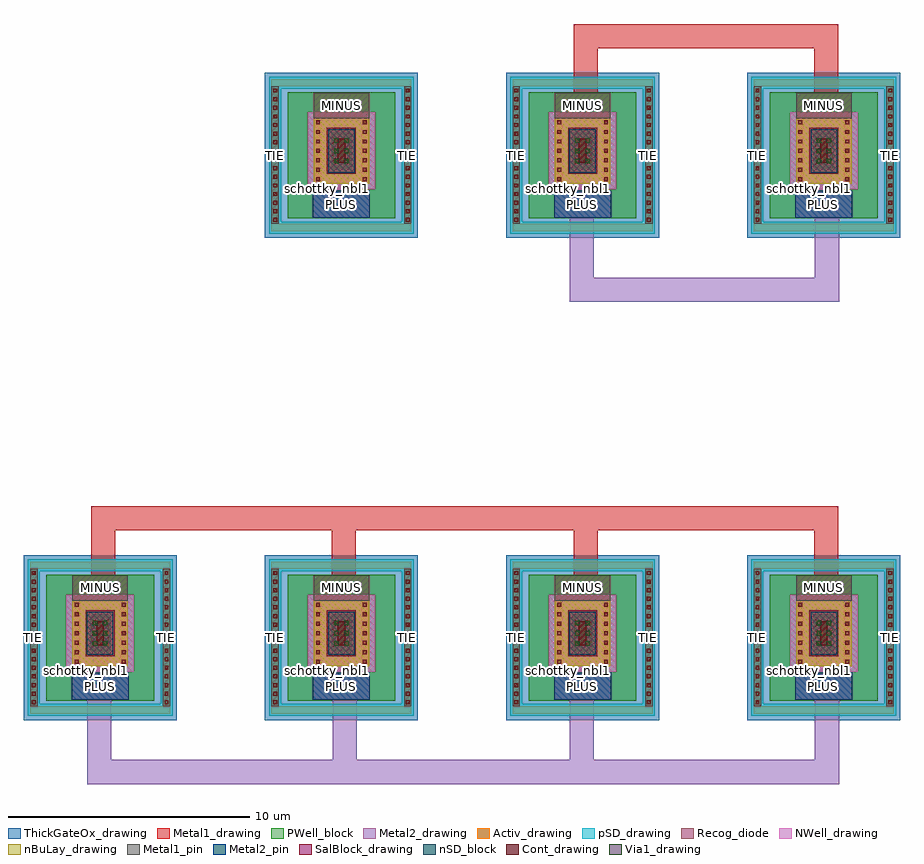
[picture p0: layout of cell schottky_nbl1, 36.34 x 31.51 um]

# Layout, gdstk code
import gdstk
lib = gdstk.Library(unit=1e-6, precision=1e-09)
def R(c, l, rs):  # rectangles x0, y0, x1, y1
    for r in rs: c.add(gdstk.rectangle(r[:2], r[2:], *l))
def A(c, l, x, y, w, h, nx, ny, dx, dy):  # array of equal rectangles
    R(c, l, [(x+i*dx, y+j*dy, x+i*dx+w, y+j*dy+h) for i in range(nx) for j in range(ny)])
Activ_drawing = (1, 0)
Cont_drawing = (6, 0)
nSD_block = (7, 21)
Metal1_drawing = (8, 0)
Metal1_pin = (8, 2)
Metal2_drawing = (10, 0)
Metal2_pin = (10, 2)
pSD_drawing = (14, 0)
Via1_drawing = (19, 0)
SalBlock_drawing = (28, 0)
NWell_drawing = (31, 0)
nBuLay_drawing = (32, 0)
ThickGateOx_drawing = (44, 0)
PWell_block = (46, 21)
Recog_diode = (99, 31)

schottky_nbl1 = lib.new_cell('schottky_nbl1')
A(schottky_nbl1, Activ_drawing, -12.3, -22.38, 5.8, 0.3, 4, 2, 10, 6)
A(schottky_nbl1, Activ_drawing, -10.55, -20.4, 2.3, 2.7, 4, 1, 10, 0)
A(schottky_nbl1, Activ_drawing, -2.3, -2.38, 5.8, 0.3, 3, 2, 10, 6)
A(schottky_nbl1, Activ_drawing, -0.55, -0.4, 2.3, 2.7, 3, 1, 10, 0)
R(schottky_nbl1, Activ_drawing, [(-12.3,-22.08,-12,-16.38), (-6.8,-22.08,-6.5,-16.38), (-2.3,-22.08,-2,-16.38), (3.2,-22.08,3.5,-16.38), (7.7,-22.08,8,-16.38), (13.2,-22.08,13.5,-16.38), (17.7,-22.08,18,-16.38), (23.2,-22.08,23.5,-16.38), (-2.3,-2.08,-2,3.62), (3.2,-2.08,3.5,3.62), (7.7,-2.08,8,3.62), (13.2,-2.08,13.5,3.62), (17.7,-2.08,18,3.62), (23.2,-2.08,23.5,3.62)])
A(schottky_nbl1, Cont_drawing, -12.23, -21.99, 0.16, 0.16, 1, 3, 0, 0.355)
A(schottky_nbl1, Cont_drawing, -6.73, -21.99, 0.16, 0.16, 1, 3, 0, 0.355)
A(schottky_nbl1, Cont_drawing, -2.23, -21.99, 0.16, 0.16, 1, 3, 0, 0.355)
A(schottky_nbl1, Cont_drawing, 3.27, -21.99, 0.16, 0.16, 1, 3, 0, 0.355)
A(schottky_nbl1, Cont_drawing, 7.77, -21.99, 0.16, 0.16, 1, 3, 0, 0.355)
A(schottky_nbl1, Cont_drawing, 13.27, -21.99, 0.16, 0.16, 1, 3, 0, 0.355)
A(schottky_nbl1, Cont_drawing, 17.77, -21.99, 0.16, 0.16, 1, 3, 0, 0.355)
A(schottky_nbl1, Cont_drawing, 23.27, -21.99, 0.16, 0.16, 1, 3, 0, 0.355)
A(schottky_nbl1, Cont_drawing, -10.45, -19.92, 0.16, 0.16, 1, 3, 0, 0.395)
A(schottky_nbl1, Cont_drawing, -8.51, -19.92, 0.16, 0.16, 1, 3, 0, 0.395)
A(schottky_nbl1, Cont_drawing, -0.45, -19.92, 0.16, 0.16, 1, 3, 0, 0.395)
A(schottky_nbl1, Cont_drawing, 1.49, -19.92, 0.16, 0.16, 1, 3, 0, 0.395)
A(schottky_nbl1, Cont_drawing, 9.55, -19.92, 0.16, 0.16, 1, 3, 0, 0.395)
A(schottky_nbl1, Cont_drawing, 11.49, -19.92, 0.16, 0.16, 1, 3, 0, 0.395)
A(schottky_nbl1, Cont_drawing, 19.55, -19.92, 0.16, 0.16, 1, 3, 0, 0.395)
A(schottky_nbl1, Cont_drawing, 21.49, -19.92, 0.16, 0.16, 1, 3, 0, 0.395)
A(schottky_nbl1, Cont_drawing, -9.55, -19.55, 0.3, 1, 4, 1, 10, 0)
A(schottky_nbl1, Cont_drawing, -10.45, -18.74, 0.16, 0.16, 1, 3, 0, 0.395)
A(schottky_nbl1, Cont_drawing, -8.51, -18.74, 0.16, 0.16, 1, 3, 0, 0.395)
A(schottky_nbl1, Cont_drawing, -0.45, -18.74, 0.16, 0.16, 1, 3, 0, 0.395)
A(schottky_nbl1, Cont_drawing, 1.49, -18.74, 0.16, 0.16, 1, 3, 0, 0.395)
A(schottky_nbl1, Cont_drawing, 9.55, -18.74, 0.16, 0.16, 1, 3, 0, 0.395)
A(schottky_nbl1, Cont_drawing, 11.49, -18.74, 0.16, 0.16, 1, 3, 0, 0.395)
A(schottky_nbl1, Cont_drawing, 19.55, -18.74, 0.16, 0.16, 1, 3, 0, 0.395)
A(schottky_nbl1, Cont_drawing, 21.49, -18.74, 0.16, 0.16, 1, 3, 0, 0.395)
A(schottky_nbl1, Cont_drawing, -2.23, -1.99, 0.16, 0.16, 1, 3, 0, 0.355)
A(schottky_nbl1, Cont_drawing, 3.27, -1.99, 0.16, 0.16, 1, 3, 0, 0.355)
A(schottky_nbl1, Cont_drawing, 7.77, -1.99, 0.16, 0.16, 1, 3, 0, 0.355)
A(schottky_nbl1, Cont_drawing, 13.27, -1.99, 0.16, 0.16, 1, 3, 0, 0.355)
A(schottky_nbl1, Cont_drawing, 17.77, -1.99, 0.16, 0.16, 1, 3, 0, 0.355)
A(schottky_nbl1, Cont_drawing, 23.27, -1.99, 0.16, 0.16, 1, 3, 0, 0.355)
A(schottky_nbl1, Cont_drawing, -0.45, 0.08, 0.16, 0.16, 1, 3, 0, 0.395)
A(schottky_nbl1, Cont_drawing, 1.49, 0.08, 0.16, 0.16, 1, 3, 0, 0.395)
A(schottky_nbl1, Cont_drawing, 9.55, 0.08, 0.16, 0.16, 1, 3, 0, 0.395)
A(schottky_nbl1, Cont_drawing, 11.49, 0.08, 0.16, 0.16, 1, 3, 0, 0.395)
A(schottky_nbl1, Cont_drawing, 19.55, 0.08, 0.16, 0.16, 1, 3, 0, 0.395)
A(schottky_nbl1, Cont_drawing, 21.49, 0.08, 0.16, 0.16, 1, 3, 0, 0.395)
A(schottky_nbl1, Cont_drawing, 0.45, 0.45, 0.3, 1, 3, 1, 10, 0)
A(schottky_nbl1, Cont_drawing, -0.45, 1.26, 0.16, 0.16, 1, 3, 0, 0.395)
A(schottky_nbl1, Cont_drawing, 1.49, 1.26, 0.16, 0.16, 1, 3, 0, 0.395)
A(schottky_nbl1, Cont_drawing, 9.55, 1.26, 0.16, 0.16, 1, 3, 0, 0.395)
A(schottky_nbl1, Cont_drawing, 11.49, 1.26, 0.16, 0.16, 1, 3, 0, 0.395)
A(schottky_nbl1, Cont_drawing, 19.55, 1.26, 0.16, 0.16, 1, 3, 0, 0.395)
A(schottky_nbl1, Cont_drawing, 21.49, 1.26, 0.16, 0.16, 1, 3, 0, 0.395)
R(schottky_nbl1, Cont_drawing, [(-12.23,-20.92,-12.07,-20.76), (-6.73,-20.92,-6.57,-20.76), (-2.23,-20.92,-2.07,-20.76), (3.27,-20.92,3.43,-20.76), (7.77,-20.92,7.93,-20.76), (13.27,-20.92,13.43,-20.76), (17.77,-20.92,17.93,-20.76), (23.27,-20.92,23.43,-20.76), (-12.23,-20.565,-12.07,-20.405), (-6.73,-20.565,-6.57,-20.405), (-2.23,-20.565,-2.07,-20.405), (3.27,-20.565,3.43,-20.405), (7.77,-20.565,7.93,-20.405), (13.27,-20.565,13.43,-20.405), (17.77,-20.565,17.93,-20.405), (23.27,-20.565,23.43,-20.405), (-10.45,-20.31,-10.29,-20.15), (-8.51,-20.31,-8.35,-20.15), (-0.45,-20.31,-0.29,-20.15), (1.49,-20.31,1.65,-20.15), (9.55,-20.31,9.71,-20.15), (11.49,-20.31,11.65,-20.15), (19.55,-20.31,19.71,-20.15), (21.49,-20.31,21.65,-20.15), (-12.23,-20.205,-12.07,-20.045), (-6.73,-20.205,-6.57,-20.045), (-2.23,-20.205,-2.07,-20.045), (3.27,-20.205,3.43,-20.045), (7.77,-20.205,7.93,-20.045), (13.27,-20.205,13.43,-20.045), (17.77,-20.205,17.93,-20.045), (23.27,-20.205,23.43,-20.045), (-12.23,-19.85,-12.07,-19.69), (-6.73,-19.85,-6.57,-19.69), (-2.23,-19.85,-2.07,-19.69), (3.27,-19.85,3.43,-19.69), (7.77,-19.85,7.93,-19.69), (13.27,-19.85,13.43,-19.69), (17.77,-19.85,17.93,-19.69), (23.27,-19.85,23.43,-19.69), (-12.23,-19.49,-12.07,-19.33), (-6.73,-19.49,-6.57,-19.33), (-2.23,-19.49,-2.07,-19.33), (3.27,-19.49,3.43,-19.33), (7.77,-19.49,7.93,-19.33), (13.27,-19.49,13.43,-19.33), (17.77,-19.49,17.93,-19.33), (23.27,-19.49,23.43,-19.33), (-12.23,-19.135,-12.07,-18.975), (-6.73,-19.135,-6.57,-18.975), (-2.23,-19.135,-2.07,-18.975), (3.27,-19.135,3.43,-18.975), (7.77,-19.135,7.93,-18.975), (13.27,-19.135,13.43,-18.975), (17.77,-19.135,17.93,-18.975), (23.27,-19.135,23.43,-18.975), (-12.23,-18.775,-12.07,-18.615), (-6.73,-18.775,-6.57,-18.615), (-2.23,-18.775,-2.07,-18.615), (3.27,-18.775,3.43,-18.615), (7.77,-18.775,7.93,-18.615), (13.27,-18.775,13.43,-18.615), (17.77,-18.775,17.93,-18.615), (23.27,-18.775,23.43,-18.615), (-12.23,-18.42,-12.07,-18.26), (-6.73,-18.42,-6.57,-18.26), (-2.23,-18.42,-2.07,-18.26), (3.27,-18.42,3.43,-18.26), (7.77,-18.42,7.93,-18.26), (13.27,-18.42,13.43,-18.26), (17.77,-18.42,17.93,-18.26), (23.27,-18.42,23.43,-18.26), (-12.23,-18.06,-12.07,-17.9), (-6.73,-18.06,-6.57,-17.9), (-2.23,-18.06,-2.07,-17.9), (3.27,-18.06,3.43,-17.9), (7.77,-18.06,7.93,-17.9), (13.27,-18.06,13.43,-17.9), (17.77,-18.06,17.93,-17.9), (23.27,-18.06,23.43,-17.9), (-12.23,-17.705,-12.07,-17.545), (-6.73,-17.705,-6.57,-17.545), (-2.23,-17.705,-2.07,-17.545), (3.27,-17.705,3.43,-17.545), (7.77,-17.705,7.93,-17.545), (13.27,-17.705,13.43,-17.545), (17.77,-17.705,17.93,-17.545), (23.27,-17.705,23.43,-17.545), (-12.23,-17.345,-12.07,-17.185), (-6.73,-17.345,-6.57,-17.185), (-2.23,-17.345,-2.07,-17.185), (3.27,-17.345,3.43,-17.185), (7.77,-17.345,7.93,-17.185), (13.27,-17.345,13.43,-17.185), (17.77,-17.345,17.93,-17.185), (23.27,-17.345,23.43,-17.185), (-12.23,-16.99,-12.07,-16.83), (-6.73,-16.99,-6.57,-16.83), (-2.23,-16.99,-2.07,-16.83), (3.27,-16.99,3.43,-16.83), (7.77,-16.99,7.93,-16.83), (13.27,-16.99,13.43,-16.83), (17.77,-16.99,17.93,-16.83), (23.27,-16.99,23.43,-16.83), (-12.23,-16.63,-12.07,-16.47), (-6.73,-16.63,-6.57,-16.47), (-2.23,-16.63,-2.07,-16.47), (3.27,-16.63,3.43,-16.47), (7.77,-16.63,7.93,-16.47), (13.27,-16.63,13.43,-16.47), (17.77,-16.63,17.93,-16.47), (23.27,-16.63,23.43,-16.47), (-2.23,-0.92,-2.07,-0.76), (3.27,-0.92,3.43,-0.76), (7.77,-0.92,7.93,-0.76), (13.27,-0.92,13.43,-0.76), (17.77,-0.92,17.93,-0.76), (23.27,-0.92,23.43,-0.76), (-2.23,-0.565,-2.07,-0.405), (3.27,-0.565,3.43,-0.405), (7.77,-0.565,7.93,-0.405), (13.27,-0.565,13.43,-0.405), (17.77,-0.565,17.93,-0.405), (23.27,-0.565,23.43,-0.405), (-0.45,-0.31,-0.29,-0.15), (1.49,-0.31,1.65,-0.15), (9.55,-0.31,9.71,-0.15), (11.49,-0.31,11.65,-0.15), (19.55,-0.31,19.71,-0.15), (21.49,-0.31,21.65,-0.15), (-2.23,-0.205,-2.07,-0.045), (3.27,-0.205,3.43,-0.045), (7.77,-0.205,7.93,-0.045), (13.27,-0.205,13.43,-0.045), (17.77,-0.205,17.93,-0.045), (23.27,-0.205,23.43,-0.045), (-2.23,0.15,-2.07,0.31), (3.27,0.15,3.43,0.31), (7.77,0.15,7.93,0.31), (13.27,0.15,13.43,0.31), (17.77,0.15,17.93,0.31), (23.27,0.15,23.43,0.31), (-2.23,0.51,-2.07,0.67), (3.27,0.51,3.43,0.67), (7.77,0.51,7.93,0.67), (13.27,0.51,13.43,0.67), (17.77,0.51,17.93,0.67), (23.27,0.51,23.43,0.67), (-2.23,0.865,-2.07,1.025), (3.27,0.865,3.43,1.025), (7.77,0.865,7.93,1.025), (13.27,0.865,13.43,1.025), (17.77,0.865,17.93,1.025), (23.27,0.865,23.43,1.025), (-2.23,1.225,-2.07,1.385), (3.27,1.225,3.43,1.385), (7.77,1.225,7.93,1.385), (13.27,1.225,13.43,1.385), (17.77,1.225,17.93,1.385), (23.27,1.225,23.43,1.385), (-2.23,1.58,-2.07,1.74), (3.27,1.58,3.43,1.74), (7.77,1.58,7.93,1.74), (13.27,1.58,13.43,1.74), (17.77,1.58,17.93,1.74), (23.27,1.58,23.43,1.74), (-2.23,1.94,-2.07,2.1), (3.27,1.94,3.43,2.1), (7.77,1.94,7.93,2.1), (13.27,1.94,13.43,2.1), (17.77,1.94,17.93,2.1), (23.27,1.94,23.43,2.1), (-2.23,2.295,-2.07,2.455), (3.27,2.295,3.43,2.455), (7.77,2.295,7.93,2.455), (13.27,2.295,13.43,2.455), (17.77,2.295,17.93,2.455), (23.27,2.295,23.43,2.455), (-2.23,2.655,-2.07,2.815), (3.27,2.655,3.43,2.815), (7.77,2.655,7.93,2.815), (13.27,2.655,13.43,2.815), (17.77,2.655,17.93,2.815), (23.27,2.655,23.43,2.815), (-2.23,3.01,-2.07,3.17), (3.27,3.01,3.43,3.17), (7.77,3.01,7.93,3.17), (13.27,3.01,13.43,3.17), (17.77,3.01,17.93,3.17), (23.27,3.01,23.43,3.17), (-2.23,3.37,-2.07,3.53), (3.27,3.37,3.43,3.53), (7.77,3.37,7.93,3.53), (13.27,3.37,13.43,3.53), (17.77,3.37,17.93,3.53), (23.27,3.37,23.43,3.53)])
A(schottky_nbl1, nSD_block, -9.95, -19.95, 1.1, 1.8, 4, 1, 10, 0)
A(schottky_nbl1, nSD_block, 0.05, 0.05, 1.1, 1.8, 3, 1, 10, 0)
A(schottky_nbl1, Metal1_drawing, -9.6, -19.62, 0.4, 1.14, 4, 1, 10, 0)
A(schottky_nbl1, Metal1_drawing, -10.55, -17.7, 2.3, 1.055, 4, 1, 10, 0)
A(schottky_nbl1, Metal1_drawing, 0.4, 0.38, 0.4, 1.14, 3, 1, 10, 0)
A(schottky_nbl1, Metal1_drawing, -0.55, 2.3, 2.3, 1.055, 3, 1, 10, 0)
R(schottky_nbl1, Metal1_drawing, [(-12.3,-22.08,-12,-16.38), (-6.8,-22.08,-6.5,-16.38), (-2.3,-22.08,-2,-16.38), (3.2,-22.08,3.5,-16.38), (7.7,-22.08,8,-16.38), (13.2,-22.08,13.5,-16.38), (17.7,-22.08,18,-16.38), (23.2,-22.08,23.5,-16.38), (-10.55,-20.4,-10.51,-17.7), (-10.51,-20.4,-10.23,-17.7), (-8.57,-20.4,-8.29,-17.7), (-8.29,-20.4,-8.25,-17.7), (-0.55,-20.4,-0.51,-17.7), (-0.51,-20.4,-0.23,-17.7), (1.43,-20.4,1.71,-17.7), (1.71,-20.4,1.75,-17.7), (9.45,-20.4,9.49,-17.7), (9.49,-20.4,9.77,-17.7), (11.43,-20.4,11.71,-17.7), (11.71,-20.4,11.75,-17.7), (19.45,-20.4,19.49,-17.7), (19.49,-20.4,19.77,-17.7), (21.43,-20.4,21.71,-17.7), (21.71,-20.4,21.75,-17.7), (-9.75,-19.62,-9.46,-18.48), (-9.75,-19.62,-9.46,-18.48), (-9.34,-19.62,-9.05,-18.48), (-9.34,-19.62,-9.05,-18.48), (0.25,-19.62,0.54,-18.48), (0.25,-19.62,0.54,-18.48), (0.66,-19.62,0.95,-18.48), (0.66,-19.62,0.95,-18.48), (10.25,-19.62,10.54,-18.48), (10.25,-19.62,10.54,-18.48), (10.66,-19.62,10.95,-18.48), (10.66,-19.62,10.95,-18.48), (20.25,-19.62,20.54,-18.48), (20.25,-19.62,20.54,-18.48), (20.66,-19.62,20.95,-18.48), (20.66,-19.62,20.95,-18.48), (-9.71,-19.58,-9.5,-18.52), (-9.3,-19.58,-9.09,-18.52), (0.29,-19.58,0.5,-18.52), (0.7,-19.58,0.91,-18.52), (10.29,-19.58,10.5,-18.52), (10.7,-19.58,10.91,-18.52), (20.29,-19.58,20.5,-18.52), (20.7,-19.58,20.91,-18.52), (-2.3,-2.08,-2,3.62), (3.2,-2.08,3.5,3.62), (7.7,-2.08,8,3.62), (13.2,-2.08,13.5,3.62), (17.7,-2.08,18,3.62), (23.2,-2.08,23.5,3.62), (-0.55,-0.4,-0.51,2.3), (-0.51,-0.4,-0.23,2.3), (1.43,-0.4,1.71,2.3), (1.71,-0.4,1.75,2.3), (9.45,-0.4,9.49,2.3), (9.49,-0.4,9.77,2.3), (11.43,-0.4,11.71,2.3), (11.71,-0.4,11.75,2.3), (19.45,-0.4,19.49,2.3), (19.49,-0.4,19.77,2.3), (21.43,-0.4,21.71,2.3), (21.71,-0.4,21.75,2.3), (0.25,0.38,0.54,1.52), (0.25,0.38,0.54,1.52), (0.66,0.38,0.95,1.52), (0.66,0.38,0.95,1.52), (10.25,0.38,10.54,1.52), (10.25,0.38,10.54,1.52), (10.66,0.38,10.95,1.52), (10.66,0.38,10.95,1.52), (20.25,0.38,20.54,1.52), (20.25,0.38,20.54,1.52), (20.66,0.38,20.95,1.52), (20.66,0.38,20.95,1.52), (0.29,0.42,0.5,1.48), (0.7,0.42,0.91,1.48), (10.29,0.42,10.5,1.48), (10.7,0.42,10.91,1.48), (20.29,0.42,20.5,1.48), (20.7,0.42,20.91,1.48)])
A(schottky_nbl1, Metal1_pin, -10.55, -17.7, 2.3, 1.055, 4, 1, 10, 0)
A(schottky_nbl1, Metal1_pin, -0.55, 2.3, 2.3, 1.055, 3, 1, 10, 0)
R(schottky_nbl1, Metal1_pin, [(-12.3,-22.08,-12,-16.38), (-6.8,-22.08,-6.5,-16.38), (-2.3,-22.08,-2,-16.38), (3.2,-22.08,3.5,-16.38), (7.7,-22.08,8,-16.38), (13.2,-22.08,13.5,-16.38), (17.7,-22.08,18,-16.38), (23.2,-22.08,23.5,-16.38), (-2.3,-2.08,-2,3.62), (3.2,-2.08,3.5,3.62), (7.7,-2.08,8,3.62), (13.2,-2.08,13.5,3.62), (17.7,-2.08,18,3.62), (23.2,-2.08,23.5,3.62)])
A(schottky_nbl1, Metal2_drawing, -10.58, -21.815, 2.36, 1.12, 4, 1, 10, 0)
A(schottky_nbl1, Metal2_drawing, -9.705, -20.695, 0.61, 2.7, 4, 1, 10, 0)
A(schottky_nbl1, Metal2_drawing, -0.58, -1.815, 2.36, 1.12, 3, 1, 10, 0)
A(schottky_nbl1, Metal2_drawing, 0.295, -0.695, 0.61, 2.7, 3, 1, 10, 0)
A(schottky_nbl1, Metal2_pin, -10.58, -21.815, 2.36, 1.12, 4, 1, 10, 0)
A(schottky_nbl1, Metal2_pin, -0.58, -1.815, 2.36, 1.12, 3, 1, 10, 0)
A(schottky_nbl1, pSD_drawing, -12.4, -22.48, 6, 0.5, 4, 2, 10, 6)
A(schottky_nbl1, pSD_drawing, -2.4, -2.48, 6, 0.5, 3, 2, 10, 6)
R(schottky_nbl1, pSD_drawing, [(-12.4,-21.98,-11.9,-16.48), (-6.9,-21.98,-6.4,-16.48), (-2.4,-21.98,-1.9,-16.48), (3.1,-21.98,3.6,-16.48), (7.6,-21.98,8.1,-16.48), (13.1,-21.98,13.6,-16.48), (17.6,-21.98,18.1,-16.48), (23.1,-21.98,23.6,-16.48), (-2.4,-1.98,-1.9,3.52), (3.1,-1.98,3.6,3.52), (7.6,-1.98,8.1,3.52), (13.1,-1.98,13.6,3.52), (17.6,-1.98,18.1,3.52), (23.1,-1.98,23.6,3.52)])
A(schottky_nbl1, Via1_drawing, -9.7, -19.57, 0.19, 0.19, 1, 3, 0, 0.425)
A(schottky_nbl1, Via1_drawing, -9.29, -19.57, 0.19, 0.19, 1, 3, 0, 0.425)
A(schottky_nbl1, Via1_drawing, 0.3, -19.57, 0.19, 0.19, 1, 3, 0, 0.425)
A(schottky_nbl1, Via1_drawing, 0.71, -19.57, 0.19, 0.19, 1, 3, 0, 0.425)
A(schottky_nbl1, Via1_drawing, 10.3, -19.57, 0.19, 0.19, 1, 3, 0, 0.425)
A(schottky_nbl1, Via1_drawing, 10.71, -19.57, 0.19, 0.19, 1, 3, 0, 0.425)
A(schottky_nbl1, Via1_drawing, 20.3, -19.57, 0.19, 0.19, 1, 3, 0, 0.425)
A(schottky_nbl1, Via1_drawing, 20.71, -19.57, 0.19, 0.19, 1, 3, 0, 0.425)
A(schottky_nbl1, Via1_drawing, 0.3, 0.43, 0.19, 0.19, 1, 3, 0, 0.425)
A(schottky_nbl1, Via1_drawing, 0.71, 0.43, 0.19, 0.19, 1, 3, 0, 0.425)
A(schottky_nbl1, Via1_drawing, 10.3, 0.43, 0.19, 0.19, 1, 3, 0, 0.425)
A(schottky_nbl1, Via1_drawing, 10.71, 0.43, 0.19, 0.19, 1, 3, 0, 0.425)
A(schottky_nbl1, Via1_drawing, 20.3, 0.43, 0.19, 0.19, 1, 3, 0, 0.425)
A(schottky_nbl1, Via1_drawing, 20.71, 0.43, 0.19, 0.19, 1, 3, 0, 0.425)
A(schottky_nbl1, SalBlock_drawing, -10, -20, 1.2, 1.9, 4, 1, 10, 0)
A(schottky_nbl1, SalBlock_drawing, 0, 0, 1.2, 1.9, 3, 1, 10, 0)
A(schottky_nbl1, NWell_drawing, -10.8, -20.65, 2.8, 0.85, 4, 2, 10, 2.35)
A(schottky_nbl1, NWell_drawing, -0.8, -0.65, 2.8, 0.85, 3, 2, 10, 2.35)
R(schottky_nbl1, NWell_drawing, [(-10.8,-19.8,-9.8,-18.3), (-9,-19.8,-8,-18.3), (-0.8,-19.8,0.2,-18.3), (1,-19.8,2,-18.3), (9.2,-19.8,10.2,-18.3), (11,-19.8,12,-18.3), (19.2,-19.8,20.2,-18.3), (21,-19.8,22,-18.3), (-0.8,0.2,0.2,1.7), (1,0.2,2,1.7), (9.2,0.2,10.2,1.7), (11,0.2,12,1.7), (19.2,0.2,20.2,1.7), (21,0.2,22,1.7)])
A(schottky_nbl1, nBuLay_drawing, -10.55, -20.42, 2.3, 2.74, 4, 1, 10, 0)
A(schottky_nbl1, nBuLay_drawing, -0.55, -0.42, 2.3, 2.74, 3, 1, 10, 0)
A(schottky_nbl1, ThickGateOx_drawing, -12.57, -22.65, 6.34, 6.84, 4, 1, 10, 0)
A(schottky_nbl1, ThickGateOx_drawing, -2.57, -2.65, 6.34, 6.84, 3, 1, 10, 0)
A(schottky_nbl1, PWell_block, -11.63, -21.84, 4.46, 1.19, 4, 1, 10, 0)
A(schottky_nbl1, PWell_block, -9.8, -19.8, 0.8, 1.5, 4, 1, 10, 0)
A(schottky_nbl1, PWell_block, -11.63, -17.45, 4.46, 0.83, 4, 1, 10, 0)
A(schottky_nbl1, PWell_block, -1.63, -1.84, 4.46, 1.19, 3, 1, 10, 0)
A(schottky_nbl1, PWell_block, 0.2, 0.2, 0.8, 1.5, 3, 1, 10, 0)
A(schottky_nbl1, PWell_block, -1.63, 2.55, 4.46, 0.83, 3, 1, 10, 0)
R(schottky_nbl1, PWell_block, [(-11.63,-20.65,-10.8,-17.45), (-8,-20.65,-7.17,-17.45), (-1.63,-20.65,-0.8,-17.45), (2,-20.65,2.83,-17.45), (8.37,-20.65,9.2,-17.45), (12,-20.65,12.83,-17.45), (18.37,-20.65,19.2,-17.45), (22,-20.65,22.83,-17.45), (-1.63,-0.65,-0.8,2.55), (2,-0.65,2.83,2.55), (8.37,-0.65,9.2,2.55), (12,-0.65,12.83,2.55), (18.37,-0.65,19.2,2.55), (22,-0.65,22.83,2.55)])
A(schottky_nbl1, Recog_diode, -10.8, -20.65, 2.8, 3.2, 4, 1, 10, 0)
A(schottky_nbl1, Recog_diode, -0.8, -0.65, 2.8, 3.2, 3, 1, 10, 0)
schottky_nbl1.add(gdstk.FlexPath([(10.563,-21.288),(10.563,-24.801),(20.733,-24.801),(20.733,-21.244)], 1, ends="flush", simple_path=True, layer=10, datatype=0))  # Metal2_drawing
schottky_nbl1.add(gdstk.FlexPath([(-9.437,-21.288),(-9.437,-24.801),(0.733,-24.801),(0.733,-21.244)], 1, ends="flush", simple_path=True, layer=10, datatype=0))  # Metal2_drawing
schottky_nbl1.add(gdstk.FlexPath([(13.696,-24.801),(-2.935,-24.801)], 1, ends="flush", simple_path=True, layer=10, datatype=0))  # Metal2_drawing
schottky_nbl1.add(gdstk.FlexPath([(10.563,-1.288),(10.563,-4.801),(20.733,-4.801),(20.733,-1.244)], 1, ends="flush", simple_path=True, layer=10, datatype=0))  # Metal2_drawing
schottky_nbl1.add(gdstk.FlexPath([(10.733,-17.181),(10.733,-14.29),(20.702,-14.29),(20.702,-17.22)], 1, ends="flush", simple_path=True, layer=8, datatype=0))  # Metal1_drawing
schottky_nbl1.add(gdstk.FlexPath([(-9.267,-17.181),(-9.267,-14.29),(0.702,-14.29),(0.702,-17.22)], 1, ends="flush", simple_path=True, layer=8, datatype=0))  # Metal1_drawing
schottky_nbl1.add(gdstk.FlexPath([(13.616,-14.29),(-1.68,-14.29),(-3.286,-14.29)], 1, ends="flush", simple_path=True, layer=8, datatype=0))  # Metal1_drawing
schottky_nbl1.add(gdstk.FlexPath([(10.733,2.819),(10.733,5.71),(20.702,5.71),(20.702,2.78)], 1, ends="flush", simple_path=True, layer=8, datatype=0))  # Metal1_drawing
schottky_nbl1.add(gdstk.Label('schottky_nbl1', (20.018,-20.59), layer=63, texttype=0))
schottky_nbl1.add(gdstk.Label('PLUS', (20.6,-21.255), layer=63, texttype=0))
schottky_nbl1.add(gdstk.Label('TIE', (23.35,-19.23), layer=63, texttype=0))
schottky_nbl1.add(gdstk.Label('TIE', (17.85,-19.23), layer=63, texttype=0))
schottky_nbl1.add(gdstk.Label('MINUS', (20.6,-17.173), layer=63, texttype=0))
schottky_nbl1.add(gdstk.Label('schottky_nbl1', (10.018,-20.59), layer=63, texttype=0))
schottky_nbl1.add(gdstk.Label('PLUS', (10.6,-21.255), layer=63, texttype=0))
schottky_nbl1.add(gdstk.Label('TIE', (13.35,-19.23), layer=63, texttype=0))
schottky_nbl1.add(gdstk.Label('TIE', (7.85,-19.23), layer=63, texttype=0))
schottky_nbl1.add(gdstk.Label('MINUS', (10.6,-17.173), layer=63, texttype=0))
schottky_nbl1.add(gdstk.Label('schottky_nbl1', (0.018,-20.59), layer=63, texttype=0))
schottky_nbl1.add(gdstk.Label('PLUS', (0.6,-21.255), layer=63, texttype=0))
schottky_nbl1.add(gdstk.Label('TIE', (3.35,-19.23), layer=63, texttype=0))
schottky_nbl1.add(gdstk.Label('TIE', (-2.15,-19.23), layer=63, texttype=0))
schottky_nbl1.add(gdstk.Label('MINUS', (0.6,-17.173), layer=63, texttype=0))
schottky_nbl1.add(gdstk.Label('schottky_nbl1', (-9.982,-20.59), layer=63, texttype=0))
schottky_nbl1.add(gdstk.Label('PLUS', (-9.4,-21.255), layer=63, texttype=0))
schottky_nbl1.add(gdstk.Label('TIE', (-6.65,-19.23), layer=63, texttype=0))
schottky_nbl1.add(gdstk.Label('TIE', (-12.15,-19.23), layer=63, texttype=0))
schottky_nbl1.add(gdstk.Label('MINUS', (-9.4,-17.173), layer=63, texttype=0))
schottky_nbl1.add(gdstk.Label('schottky_nbl1', (20.018,-0.59), layer=63, texttype=0))
schottky_nbl1.add(gdstk.Label('PLUS', (20.6,-1.255), layer=63, texttype=0))
schottky_nbl1.add(gdstk.Label('TIE', (23.35,0.77), layer=63, texttype=0))
schottky_nbl1.add(gdstk.Label('TIE', (17.85,0.77), layer=63, texttype=0))
schottky_nbl1.add(gdstk.Label('MINUS', (20.6,2.827), layer=63, texttype=0))
schottky_nbl1.add(gdstk.Label('schottky_nbl1', (10.018,-0.59), layer=63, texttype=0))
schottky_nbl1.add(gdstk.Label('PLUS', (10.6,-1.255), layer=63, texttype=0))
schottky_nbl1.add(gdstk.Label('TIE', (13.35,0.77), layer=63, texttype=0))
schottky_nbl1.add(gdstk.Label('TIE', (7.85,0.77), layer=63, texttype=0))
schottky_nbl1.add(gdstk.Label('MINUS', (10.6,2.827), layer=63, texttype=0))
schottky_nbl1.add(gdstk.Label('schottky_nbl1', (0.018,-0.59), layer=63, texttype=0))
schottky_nbl1.add(gdstk.Label('PLUS', (0.6,-1.255), layer=63, texttype=0))
schottky_nbl1.add(gdstk.Label('TIE', (3.35,0.77), layer=63, texttype=0))
schottky_nbl1.add(gdstk.Label('TIE', (-2.15,0.77), layer=63, texttype=0))
schottky_nbl1.add(gdstk.Label('MINUS', (0.6,2.827), layer=63, texttype=0))

lib.write_gds('schottky_nbl1.gds')
